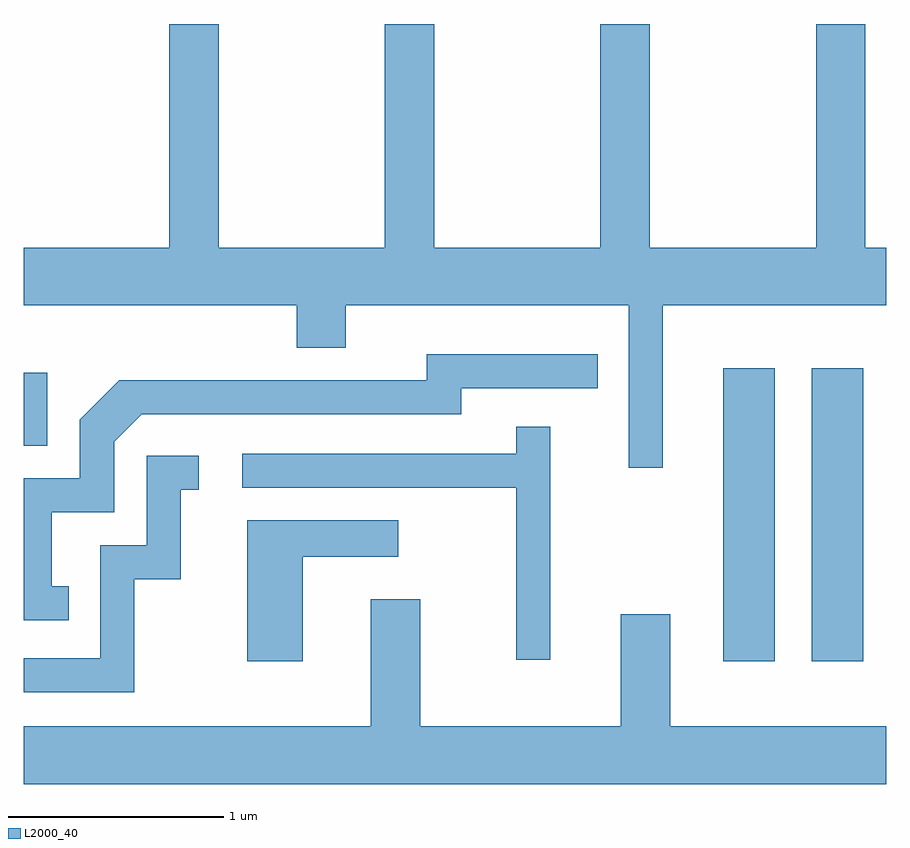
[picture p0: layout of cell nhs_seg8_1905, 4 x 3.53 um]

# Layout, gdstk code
import gdstk
lib = gdstk.Library(unit=1e-6, precision=1e-09)
def R(c, l, rs):  # rectangles x0, y0, x1, y1
    for r in rs: c.add(gdstk.rectangle(r[:2], r[2:], *l))
def P(c, l, *ps):  # polygons
    for p in ps: c.add(gdstk.Polygon(p, *l))
L2000_40 = (2000, 40)

nhs_seg8_1905 = lib.new_cell('nhs_seg8_1905')
R(nhs_seg8_1905, L2000_40, [(244.856,1881.386,245.094,1882.744), (245.266,1881.386,245.504,1882.744), (241.611,1882.386,241.719,1882.723)])
P(nhs_seg8_1905, L2000_40, [(244.574,1883.036),(245.611,1883.036),(245.611,1883.304),(245.514,1883.304),(245.514,1884.342),(245.286,1884.342),(245.286,1883.304),(244.514,1883.304),(244.514,1884.342),(244.286,1884.342),(244.286,1883.304),(243.514,1883.304),(243.514,1884.342),(243.286,1884.342),(243.286,1883.304),(242.514,1883.304),(242.514,1884.342),(242.286,1884.342),(242.286,1883.304),(241.611,1883.304),(241.611,1883.036),(242.876,1883.036),(242.876,1882.841),(243.104,1882.841),(243.104,1883.036),(244.416,1883.036),(244.416,1882.283),(244.574,1882.283)],
  [(241.818,1881.734),(241.739,1881.734),(241.739,1882.076),(242.029,1882.076),(242.029,1882.404),(242.157,1882.531),(243.639,1882.531),(243.639,1882.651),(244.273,1882.651),(244.273,1882.809),(243.481,1882.809),(243.481,1882.689),(242.054,1882.689),(241.871,1882.507),(241.871,1882.234),(241.611,1882.234),(241.611,1881.576),(241.818,1881.576)],
  [(244.054,1882.473),(243.896,1882.473),(243.896,1882.349),(242.623,1882.349),(242.623,1882.191),(243.896,1882.191),(243.896,1881.393),(244.054,1881.393)],
  [(242.124,1881.766),(242.339,1881.766),(242.339,1882.181),(242.423,1882.181),(242.423,1882.339),(242.181,1882.339),(242.181,1881.924),(241.966,1881.924),(241.966,1881.399),(241.611,1881.399),(241.611,1881.241),(242.124,1881.241)],
  [(242.904,1881.871),(243.348,1881.871),(243.348,1882.039),(242.646,1882.039),(242.646,1881.386),(242.904,1881.386)],
  [(245.611,1881.084),(244.609,1881.084),(244.609,1881.604),(244.381,1881.604),(244.381,1881.084),(243.449,1881.084),(243.449,1881.674),(243.221,1881.674),(243.221,1881.084),(241.611,1881.084),(241.611,1880.816),(245.611,1880.816)])

lib.write_gds('nhs_seg8_1905.gds')
